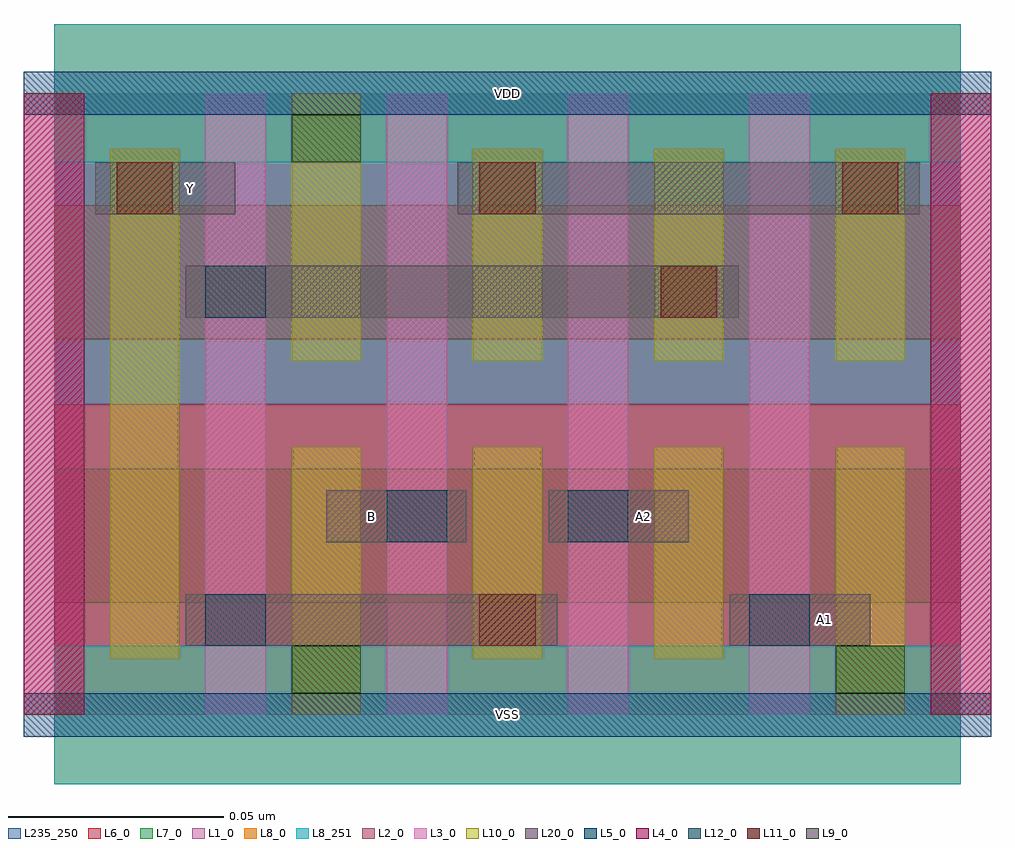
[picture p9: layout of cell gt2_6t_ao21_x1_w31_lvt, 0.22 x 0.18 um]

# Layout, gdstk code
import gdstk
lib = gdstk.Library(unit=1e-6, precision=5e-10)
def R(c, l, rs):  # rectangles x0, y0, x1, y1
    for r in rs: c.add(gdstk.rectangle(r[:2], r[2:], *l))
def A(c, l, x, y, w, h, nx, ny, dx, dy):  # array of equal rectangles
    R(c, l, [(x+i*dx, y+j*dy, x+i*dx+w, y+j*dy+h) for i in range(nx) for j in range(ny)])
L1_0 = (1, 0)
L2_0 = (2, 0)
L3_0 = (3, 0)
L4_0 = (4, 0)
L5_0 = (5, 0)
L6_0 = (6, 0)
L7_0 = (7, 0)
L8_0 = (8, 0)
L8_251 = (8, 251)
L9_0 = (9, 0)
L10_0 = (10, 0)
L11_0 = (11, 0)
L12_0 = (12, 0)
L20_0 = (20, 0)
L235_250 = (235, 250)

gt2_6t_ao21_x1_w31_lvt = lib.new_cell('gt2_6t_ao21_x1_w31_lvt')
R(gt2_6t_ao21_x1_w31_lvt, L1_0, [(0,0.072,0.21,0.144)])
R(gt2_6t_ao21_x1_w31_lvt, L2_0, [(0,0.026,0.21,0.057), (0,0.087,0.21,0.118)])
A(gt2_6t_ao21_x1_w31_lvt, L3_0, -0.007, 0, 0.014, 0.144, 6, 1, 0.042, 0)
R(gt2_6t_ao21_x1_w31_lvt, L4_0, [(-0.007,0,0.007,0.144), (0.203,0,0.217,0.144)])
R(gt2_6t_ao21_x1_w31_lvt, L5_0, [(-0.007,-0.005,0.217,0.005), (-0.007,0.139,0.217,0.149)])
R(gt2_6t_ao21_x1_w31_lvt, L6_0, [(0,0,0.21,0.072)])
R(gt2_6t_ao21_x1_w31_lvt, L7_0, [(0,0.072,0.21,0.144)])
R(gt2_6t_ao21_x1_w31_lvt, L8_0, [(0,-0.016,0.21,0.016), (0,0.128,0.21,0.16)])
R(gt2_6t_ao21_x1_w31_lvt, L8_251, [(0,-0.016,0.21,0.016), (0,0.128,0.21,0.16)])
R(gt2_6t_ao21_x1_w31_lvt, L9_0, [(0.055,0.005,0.071,0.016), (0.181,0.005,0.197,0.016), (0.055,0.128,0.071,0.139)])
A(gt2_6t_ao21_x1_w31_lvt, L10_0, 0.097, 0.082, 0.016, 0.049, 3, 1, 0.042, 0)
R(gt2_6t_ao21_x1_w31_lvt, L10_0, [(0.055,0,0.071,0.062), (0.181,0,0.197,0.062), (0.013,0.013,0.029,0.131), (0.097,0.013,0.113,0.062), (0.139,0.013,0.155,0.062), (0.055,0.082,0.071,0.144)])
A(gt2_6t_ao21_x1_w31_lvt, L11_0, 0.0145, 0.116, 0.013, 0.012, 3, 1, 0.084, 0)
R(gt2_6t_ao21_x1_w31_lvt, L11_0, [(0.0985,0.016,0.1115,0.028), (0.1405,0.092,0.1535,0.104)])
R(gt2_6t_ao21_x1_w31_lvt, L12_0, [(0.035,0.016,0.049,0.028), (0.161,0.016,0.175,0.028), (0.077,0.04,0.091,0.052), (0.119,0.04,0.133,0.052), (0.035,0.092,0.049,0.104)])
R(gt2_6t_ao21_x1_w31_lvt, L20_0, [(0.0305,0.016,0.1165,0.028), (0.1565,0.016,0.189,0.028), (0.063,0.04,0.0955,0.052), (0.1145,0.04,0.147,0.052), (0.0305,0.092,0.1585,0.104), (0.0095,0.116,0.042,0.128), (0.0935,0.116,0.2005,0.128)])
R(gt2_6t_ao21_x1_w31_lvt, L235_250, [(0,0,0.21,0.144)])
gt2_6t_ao21_x1_w31_lvt.add(gdstk.Label('VSS', (0.105,0), layer=8, texttype=251))
gt2_6t_ao21_x1_w31_lvt.add(gdstk.Label('VDD', (0.105,0.144), layer=8, texttype=251))
gt2_6t_ao21_x1_w31_lvt.add(gdstk.Label('B', (0.0735,0.046), layer=20, texttype=251))
gt2_6t_ao21_x1_w31_lvt.add(gdstk.Label('Y', (0.0315,0.122), layer=20, texttype=251))
gt2_6t_ao21_x1_w31_lvt.add(gdstk.Label('A1', (0.1785,0.022), layer=20, texttype=251))
gt2_6t_ao21_x1_w31_lvt.add(gdstk.Label('A2', (0.1365,0.046), layer=20, texttype=251))

lib.write_gds('gt2_6t_ao21_x1_w31_lvt.gds')
